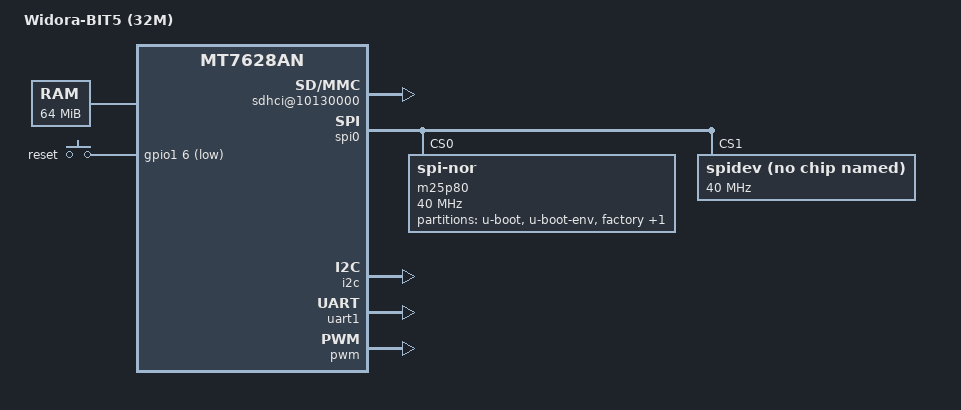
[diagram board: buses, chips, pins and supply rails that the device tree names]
/dts-v1/;

#include "WIDORA-NEO.dtsi"

/ {
	compatible = "widora,bit5-32m", "widora,neo", "mediatek,mt7628an-soc";
	model = "Widora-BIT5 (32M)";

	chosen {
		bootargs = "console=ttyS0,115200";
	};

	memory@0 {
		device_type = "memory";
		reg = <0x0 0x4000000>;
	};

	pinctrl {
		state_default: pinctrl0 {
			gpio {
				ralink,group = "gpio";
				ralink,function = "gpio";
			};
			perst {
				ralink,group = "perst";
				ralink,function = "gpio";
			};
			refclk {
				ralink,group = "refclk";
				ralink,function = "gpio";
			};
			i2s {
				ralink,group = "i2s";
				ralink,function = "i2s";
			};
			spis {
				ralink,group = "spis";
				ralink,function = "gpio";
			};
			wled_an {
				ralink,group = "wled_an";
				ralink,function = "wled_an";
			};
			ephy_p1 {
				ralink,group = "ephy_p1";
				ralink,function = "gpio";
			};
			ephy_p2 {
				ralink,group = "ephy_p2";
				ralink,function = "gpio";
			};
			ephy_p3 {
				ralink,group = "ephy_p3";
				ralink,function = "gpio";
			};
			ephy_p4 {
				ralink,group = "ephy_p4";
				ralink,function = "gpio";
			};
			wdt {
				ralink,group = "wdt";
				ralink,function = "gpio";
			};
		};
	};

	ethernet@10100000 {
		mtd-mac-address = <&factory 0x28>;
	};

	sdhci@10130000 {
		status = "okay";
		mediatek,cd-low;
	};

	gpio-keys-polled {
			compatible = "gpio-keys-polled";
			#address-cells = <1>;
			#size-cells = <0>;
			poll-interval = <20>;
			wps {
				label = "reset";
				gpios = <&gpio1 6 1>;
				linux,code = <0x211>;
			};
	};
};

&spi0 {
	status = "okay";

	pinctrl-names = "default";
	pinctrl-0 = <&spi_pins>, <&spi_cs1_pins>;

	m25p80@0 {
		compatible = "jedec,spi-nor";
		reg = <0>;
		spi-max-frequency = <40000000>;

		partitions {
			compatible = "fixed-partitions";
			#address-cells = <1>;
			#size-cells = <1>;

			partition@0 {
				label = "u-boot";
				reg = <0x0 0x30000>;
				read-only;
			};

			partition@30000 {
				label = "u-boot-env";
				reg = <0x30000 0x10000>;
			};

			factory: partition@40000 {
				label = "factory";
				reg = <0x40000 0x10000>;
				read-only;
			};

			partition@50000 {
				compatible = "denx,uimage";
				label = "firmware";
				reg = <0x50000 0x1fb0000>;
			};
		};
	};

	spidev@1 {
		#address-cells = <1>;
		#size-cells = <1>;
		compatible = "rohm,dh2228fv";
		reg = <1>;
		spi-max-frequency = <40000000>;
	};
};

&i2c {
	status = "okay";
};

&uart1 {
	status = "okay";
};

&pwm {
	status = "okay";
};
